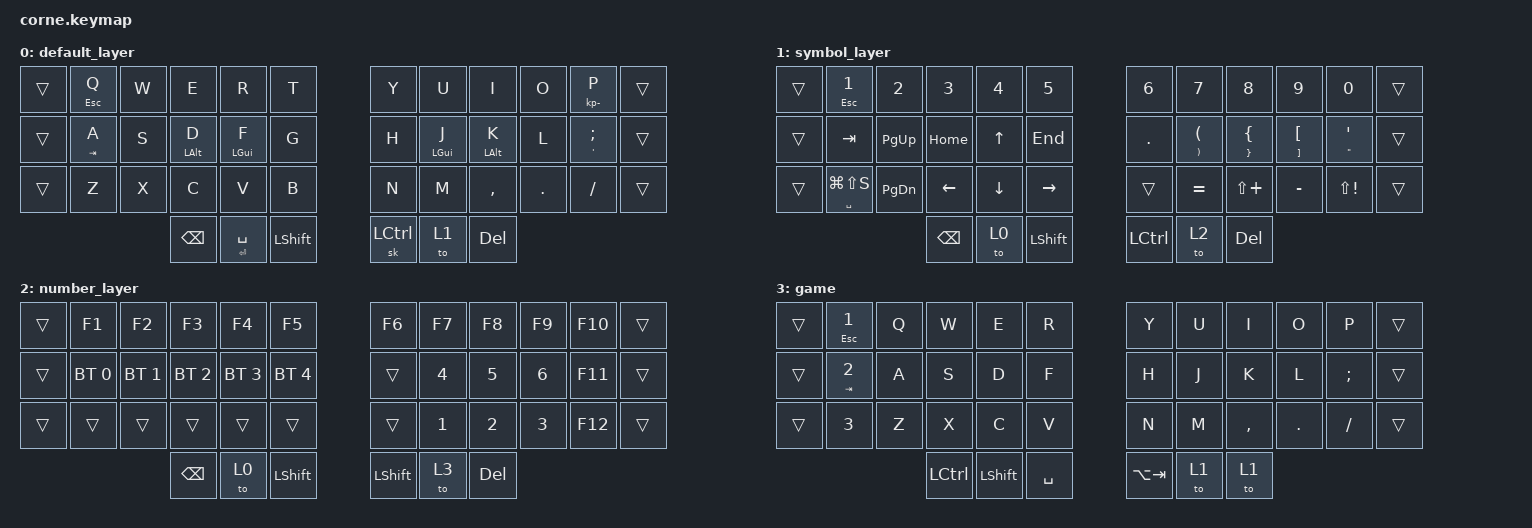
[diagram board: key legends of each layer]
/*
 * Copyright (c) 2020 The ZMK Contributors
 *
 * SPDX-License-Identifier: MIT
 */

#include <behaviors.dtsi>
#include <dt-bindings/zmk/bt.h>
#include <dt-bindings/zmk/keys.h>

/ {
    behaviors {
        holdTap: holdTap {
            compatible = "zmk,behavior-hold-tap";
            label = "HOLDTAP";
            bindings = <&kp>, <&kp>;

            #binding-cells = <2>;
            tapping-term-ms = <300>;
            quick-tap-ms = <0>;
            flavor = "tap-preferred";
        };

        long_hold: long_hold {
            compatible = "zmk,behavior-hold-tap";
            label = "LONG_HOLD";
            bindings = <&kp>, <&kp>;

            #binding-cells = <2>;
            tapping-term-ms = <500>;
            quick-tap-ms = <0>;
            flavor = "tap-preferred";
        };
    };

    keymap {
        compatible = "zmk,keymap";

        default_layer {
            // -----------------------------------------------------------------------------------------
            // |  TAB |  Q  |  W  |  E  |  R  |  T  |   |  Y  |  U   |  I  |  O  |  P  | BKSP |
            // | CTRL |  A  |  S  |  D  |  F  |  G  |   |  H  |  J   |  K  |  L  |  ;  |  '   |
            // | SHFT |  Z  |  X  |  C  |  V  |  B  |   |  N  |  M   |  ,  |  .  |  /  | ESC  |
            //                    | GUI | LWR | SPC |   | ENT | RSE  | ALT |

            bindings = <
&trans  &long_hold ESCAPE Q  &kp W  &kp E              &kp R                  &kp T        &kp Y      &kp U                  &kp I                  &kp O    &holdTap KP_MINUS P         &trans
&trans  &long_hold TAB A     &kp S  &long_hold LALT D  &long_hold LEFT_GUI F  &kp G        &kp H      &long_hold LEFT_GUI J  &long_hold LEFT_ALT K  &kp L    &holdTap SINGLE_QUOTE SEMI  &trans
&trans  &kp Z                &kp X  &kp C              &kp V                  &kp B        &kp N      &kp M                  &kp COMMA              &kp DOT  &kp FSLH                    &trans
                                    &kp BACKSPACE      &holdTap RETURN SPACE  &kp LSHFT    &sk LCTRL  &to 1                  &kp DEL
            >;
        };

        symbol_layer {
            // -----------------------------------------------------------------------------------------
            // |  TAB |  !  |  @  |  #  |  $  |  %  |   |  ^  |  &  |  *  |  (  |  )  | BKSP |
            // | CTRL |     |     |     |     |     |   |  -  |  =  |  [  |  ]  |  \  |  `   |
            // | SHFT |     |     |     |     |     |   |  _  |  +  |  {  |  }  | "|" |  ~   |
            //                    | GUI |     | SPC |   | ENT |     | ALT |

            bindings = <
&trans  &holdTap ESC N1           &kp N2     &kp N3         &kp N4    &kp N5        &kp N6      &kp N7                                       &kp N8                           &kp N9                               &kp N0                               &trans
&trans  &kp TAB                   &kp PG_UP  &kp HOME       &kp UP    &kp END       &kp PERIOD  &holdTap RIGHT_PARENTHESIS LEFT_PARENTHESIS  &holdTap RIGHT_BRACE LEFT_BRACE  &holdTap RIGHT_BRACKET LEFT_BRACKET  &holdTap DOUBLE_QUOTES SINGLE_QUOTE  &trans
&trans  &holdTap SPACE LG(LS(S))  &kp PG_DN  &kp LEFT       &kp DOWN  &kp RIGHT     &trans      &kp EQUAL                                    &kp LS(PLUS)                     &kp MINUS                            &kp LS(EXCL)                         &trans
                                             &kp BACKSPACE  &to 0     &kp LSHIFT    &kp LCTRL   &to 2                                        &kp DELETE
            >;
        };

        number_layer {
            // -----------------------------------------------------------------------------------------
            // |  TAB |  1  |  2  |  3  |  4  |  5  |   |  6  |  7  |  8  |  9  |  0  | BKSP |
            // | BTCLR| BT1 | BT2 | BT3 | BT4 | BT5 |   | LFT | DWN |  UP | RGT |     |      |
            // | SHFT |     |     |     |     |     |   |     |     |     |     |     |      |
            //                    | GUI |     | SPC |   | ENT |     | ALT |

            bindings = <
&trans  &kp F1        &kp F2        &kp F3        &kp F4        &kp F5          &kp F6     &kp F7        &kp F8        &kp F9        &kp F10  &trans
&trans  &bt BT_SEL 0  &bt BT_SEL 1  &bt BT_SEL 2  &bt BT_SEL 3  &bt BT_SEL 4    &trans     &kp NUMBER_4  &kp N5        &kp N6        &kp F11  &trans
&trans  &trans        &trans        &trans        &trans        &trans          &trans     &kp NUMBER_1  &kp NUMBER_2  &kp NUMBER_3  &kp F12  &trans
                                    &kp BSPC      &to 0         &kp LSHFT       &kp LSHFT  &to 3         &kp DEL
            >;
        };

        game {
            bindings = <
&trans  &holdTap ESCAPE N1  &kp Q  &kp W      &kp E      &kp R        &kp Y        &kp U  &kp I      &kp O    &kp P     &trans
&trans  &holdTap TAB N2     &kp A  &kp S      &kp D      &kp F        &kp H        &kp J  &kp K      &kp L    &kp SEMI  &trans
&trans  &kp N3              &kp Z  &kp X      &kp C      &kp V        &kp N        &kp M  &kp COMMA  &kp DOT  &kp FSLH  &trans
                                   &kp LCTRL  &kp LSHFT  &kp SPACE    &kp LA(TAB)  &to 1  &to 1
            >;
        };
    };
};
